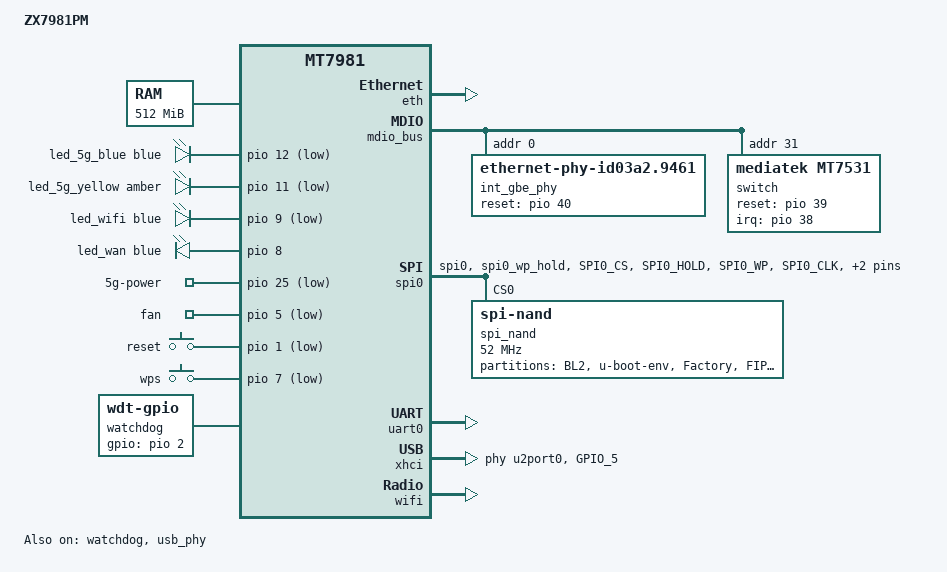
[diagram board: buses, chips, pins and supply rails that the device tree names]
// SPDX-License-Identifier: GPL-2.0-or-later OR MIT
/dts-v1/;
#include <dt-bindings/gpio/gpio.h>
#include <dt-bindings/input/input.h>
#include <dt-bindings/leds/common.h>
#include "mt7981.dtsi"

/ {
    model = "ZX7981PM";
    compatible = "zx,zx7981pm", "mediatek,mt7981";
    
    aliases {
        serial0 = &uart0;
        led-boot = &led_5g_blue;
        led-failsafe = &led_5g_yellow;
        led-running = &led_wan;
        led-upgrade = &led_5g_blue;
        label-mac-device = &gmac0;
    };

    chosen {
        bootargs-override = "console=ttyS0,115200n1 loglevel=8 root=/dev/fit0 rootwait";
        stdout-path = "serial0:115200n8";
    };

    memory {
        reg = <0 0x40000000 0 0x20000000>;
    };

    leds {
        compatible = "gpio-leds";

        led_5g_blue: led-5g-blue {
            function = LED_FUNCTION_WAN;
            color = <LED_COLOR_ID_BLUE>;
            gpios = <&pio 12 GPIO_ACTIVE_LOW>;
            linux,default-trigger = "netdev";
        };

        led_5g_yellow: led-5g-yellow {
            function = LED_FUNCTION_INDICATOR;
            color = <LED_COLOR_ID_AMBER>;
            gpios = <&pio 11 GPIO_ACTIVE_LOW>;
        };

        led_wifi: led-wifi {
            function = LED_FUNCTION_WLAN;
            color = <LED_COLOR_ID_BLUE>;
            gpios = <&pio 9 GPIO_ACTIVE_LOW>;
            linux,default-trigger = "phy0tpt";
        };

        led_wan: led-wan {
            function = LED_FUNCTION_WAN;
            color = <LED_COLOR_ID_BLUE>;
            gpios = <&pio 8 GPIO_ACTIVE_HIGH>;
            trigger-sources = <&gmac1>;
        };
    };

    gpio-export {
        compatible = "gpio-export";
        #size-cells = <0>;

        5g-power {
            gpio-export,name = "5g-power";
            gpio-export,output = <1>;
            gpios = <&pio 25 GPIO_ACTIVE_LOW>;
        };

        fan {
            gpio-export,name = "fan";
            gpio-export,output = <0>;
            gpios = <&pio 5 GPIO_ACTIVE_LOW>;
        };
    };

    keys {
        compatible = "gpio-keys-polled";
        poll-interval = <20>;

        reset {
            label = "reset";
            linux,code = <KEY_RESTART>;
            gpios = <&pio 1 GPIO_ACTIVE_LOW>;
        };

        wps {
            label = "wps";
            linux,code = <KEY_WPS_BUTTON>;
            gpios = <&pio 7 GPIO_ACTIVE_LOW>;
            linux,input-type = <EV_SW>;
        };
    };

    watchdog {
        compatible = "linux,wdt-gpio";
        gpios = <&pio 2 GPIO_ACTIVE_HIGH>;
        hw_algo = "toggle";
        hw_margin_ms = <1500>;
    };
};

&eth {
    status = "okay";

    gmac0: mac@0 {
        compatible = "mediatek,eth-mac";
        reg = <0>;
        phy-mode = "2500base-x";
        nvmem-cell-names = "mac-address";
        nvmem-cells = <&macaddr_factory_4 0>;

        fixed-link {
            speed = <2500>;
            full-duplex;
            pause;
        };
    };

    gmac1: mac@1 {
        compatible = "mediatek,eth-mac";
        reg = <1>;
        phy-mode = "gmii";
        phy-handle = <&int_gbe_phy>;
    };
};

&mdio_bus {
    int_gbe_phy: phy@0 {
        reg = <0>;
        compatible = "ethernet-phy-id03a2.9461";
        reset-gpios = <&pio 40 GPIO_ACTIVE_HIGH>;
    };

    switch@31 {
        compatible = "mediatek,mt7531";
        reg = <31>;
        reset-gpios = <&pio 39 GPIO_ACTIVE_HIGH>;
        interrupt-controller;
        #interrupt-cells = <1>;
        interrupt-parent = <&pio>;
        interrupts = <38 IRQ_TYPE_LEVEL_HIGH>;
    };
};

&spi0 {
    pinctrl-names = "default";
    pinctrl-0 = <&spi0_flash_pins>;
    status = "okay";

    spi_nand: flash@0 {
        compatible = "spi-nand";
        reg = <0>;
        spi-max-frequency = <52000000>;
        spi-tx-bus-width = <4>;
        spi-rx-bus-width = <4>;

        partitions {
            compatible = "fixed-partitions";
            #address-cells = <1>;
            #size-cells = <1>;

            partition@0 {
                label = "BL2";
                reg = <0x000000 0x100000>;
                read-only;
            };

            partition@100000 {
                label = "u-boot-env";
                reg = <0x100000 0x80000>;
            };

            factory: partition@180000 {
                label = "Factory";
                reg = <0x180000 0x200000>;
                read-only;

                nvmem-layout {
                    compatible = "fixed-layout";
                    #address-cells = <1>;
                    #size-cells = <1>;

                    macaddr_factory_4: macaddr@4 {
                        compatible = "mac-base";
                        reg = <0x4 0x6>;
                        #nvmem-cell-cells = <1>;
                    };
                };
            };

            partition@380000 {
                label = "FIP";
                reg = <0x380000 0x200000>;
                read-only;
            };

            partition@580000 {
                label = "oem-config";
                reg = <0x580000 0xa0000>;
            };

            partition@620000 {
                label = "ubi";
                reg = <0x620000 0x3e00000>;
                compatible = "linux,ubi";
            };
        };
    };
};

&pio {
    spi0_flash_pins: spi0-pins {
        mux {
            function = "spi";
            groups = "spi0", "spi0_wp_hold";
        };

        conf-pu {
            pins = "SPI0_CS", "SPI0_HOLD", "SPI0_WP";
            drive-strength = <MTK_DRIVE_8mA>;
            bias-pull-up = <MTK_PUPD_SET_R1R0_11>;
        };

        conf-pd {
            pins = "SPI0_CLK", "SPI0_MOSI", "SPI0_MISO";
            drive-strength = <MTK_DRIVE_8mA>;
            bias-pull-down = <MTK_PUPD_SET_R1R0_11>;
        };
    };

    usb_pwr_pins: usb-pwr {
        pins = "GPIO_5";
        function = "gpio";
        bias-pull-up;
    };
};

&uart0 {
    status = "okay";
};

&watchdog {
    status = "okay";
};

&usb_phy {
    status = "okay";
};

&xhci {
    status = "okay";
    phys = <&u2port0 PHY_TYPE_USB2>,
           <&u3port0 PHY_TYPE_USB3>;
    pinctrl-0 = <&usb_pwr_pins>;
};

&wifi {
    status = "okay";
    nvmem-cells = <&eeprom_factory>;
    nvmem-cell-names = "eeprom";
};
